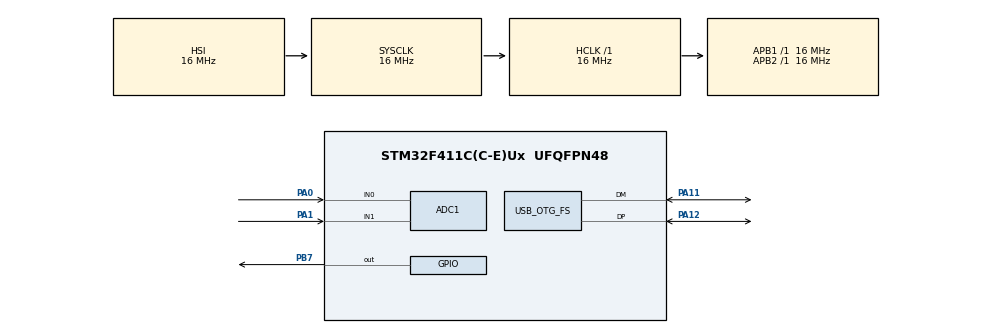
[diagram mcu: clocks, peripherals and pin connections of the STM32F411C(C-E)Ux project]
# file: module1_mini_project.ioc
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ADC1.Channel-0\#ChannelRegularConversion=ADC_CHANNEL_0
ADC1.Channel-1\#ChannelRegularConversion=ADC_CHANNEL_1
ADC1.DMAContinuousRequests=ENABLE
ADC1.EOCSelection=ADC_EOC_SEQ_CONV
ADC1.NbrOfConversion=2
ADC1.NbrOfConversionFlag=1
ADC1.Rank-0\#ChannelRegularConversion=1
ADC1.Rank-1\#ChannelRegularConversion=2
ADC1.SamplingTime-0\#ChannelRegularConversion=ADC_SAMPLETIME_480CYCLES
ADC1.SamplingTime-1\#ChannelRegularConversion=ADC_SAMPLETIME_480CYCLES
ADC1.ScanConvMode=ENABLE
ADC1.master=1
Dma.ADC1.0.Direction=DMA_PERIPH_TO_MEMORY
Dma.ADC1.0.FIFOMode=DMA_FIFOMODE_DISABLE
Dma.ADC1.0.Instance=DMA2_Stream0
Dma.ADC1.0.MemDataAlignment=DMA_MDATAALIGN_HALFWORD
Dma.ADC1.0.MemInc=DMA_MINC_ENABLE
Dma.ADC1.0.Mode=DMA_NORMAL
Dma.ADC1.0.PeriphDataAlignment=DMA_PDATAALIGN_HALFWORD
Dma.ADC1.0.PeriphInc=DMA_PINC_DISABLE
Dma.ADC1.0.Priority=DMA_PRIORITY_LOW
Dma.Request0=ADC1
Mcu.Family=STM32F4
Mcu.Name=STM32F411C(C-E)Ux
Mcu.Package=UFQFPN48
NVIC.DMA2_Stream0_IRQn=true\:0\:0\:false\:false\:true\:false\:true\:true
NVIC.OTG_FS_IRQn=true\:0\:0\:false\:false\:true\:false\:true\:true
NVIC.PriorityGroup=NVIC_PRIORITYGROUP_4
PA0-WKUP.Signal=ADCx_IN0
PA1.Signal=ADCx_IN1
PA11.Mode=Device_Only
PA11.Signal=USB_OTG_FS_DM
PA12.Mode=Device_Only
PA12.Signal=USB_OTG_FS_DP
PB7.Signal=GPIO_Output
PH0\ -\ OSC_IN.Mode=HSE-External-Oscillator
PH0\ -\ OSC_IN.Signal=RCC_OSC_IN
PH1\ -\ OSC_OUT.Mode=HSE-External-Oscillator
PH1\ -\ OSC_OUT.Signal=RCC_OSC_OUT
ProjectManager.HeapSize=0x200
ProjectManager.StackSize=0x400
ProjectManager.TargetToolchain=STM32CubeIDE
RCC.48MHZClocksFreq_Value=48000000
RCC.AHBFreq_Value=16000000
RCC.APB1Freq_Value=16000000
RCC.APB2Freq_Value=16000000
RCC.CortexFreq_Value=16000000
RCC.HSE_VALUE=25000000
RCC.HSI_VALUE=16000000
RCC.LSE_VALUE=32768
RCC.PLLM=15
RCC.PLLN=144
RCC.PLLQ=5
RCC.SYSCLKFreq_VALUE=16000000
RCC.VCOOutputFreq_Value=240000000
SH.ADCx_IN0.0=ADC1_IN0,IN0
SH.ADCx_IN1.0=ADC1_IN1,IN1
USB_DEVICE.CLASS_NAME_FS=CDC
USB_DEVICE.VirtualMode=Cdc
USB_DEVICE.VirtualModeFS=Cdc_FS
USB_OTG_FS.VirtualMode=Device_Only
VP_USB_DEVICE_VS_USB_DEVICE_CDC_FS.Mode=CDC_FS
board=custom

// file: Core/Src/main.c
/* USER CODE BEGIN Header */
/**
  ******************************************************************************
  * @file           : main.c
  * @brief          : Main program body
  ******************************************************************************
  * @attention
  *
  * Copyright (c) 2026 STMicroelectronics.
  * All rights reserved.
  *
  * This software is licensed under terms that can be found in the LICENSE file
  * in the root directory of this software component.
  * If no LICENSE file comes with this software, it is provided AS-IS.
  *
  ******************************************************************************
  */
/* USER CODE END Header */
#include "main.h"
#include "usb_device.h"

/* USER CODE BEGIN Includes */
#include "math.h"
#include "usbd_cdc_if.h"
#include <stdio.h>
#include <string.h>
/* USER CODE END Includes */

/* USER CODE BEGIN PD */

#define TRUE 1
#define FALSE 0

#define INPUT_VOL 3.3
#define ADC_RESOLUTION_BITS 12
#define LED_ACTIVATION_VOL 1.5

/* USER CODE END PD */

ADC_HandleTypeDef hadc1;
DMA_HandleTypeDef hdma_adc1;

/* USER CODE BEGIN PV */

static uint8_t data[100];
static uint16_t len;
static uint16_t ADC_RESOLUTION = pow(2, ADC_RESOLUTION_BITS) - 1;
static uint8_t s_adc1Done = FALSE;
volatile uint16_t adcData[2];

/* USER CODE END PV */

void SystemClock_Config(void);
static void MX_GPIO_Init(void);
static void MX_DMA_Init(void);
static void MX_ADC1_Init(void);

/* USER CODE BEGIN 0 */

uint8_t serial_send(const uint8_t *data, const uint16_t len) {
	if (data == NULL) {
		return FALSE;
	}

	CDC_Transmit_FS(data, len);

	return TRUE;
}

float convert_adc_raw(uint16_t rawAdc) {
	return (((float) INPUT_VOL) / ADC_RESOLUTION) * rawAdc;
}

void HAL_ADC_ConvCpltCallback(ADC_HandleTypeDef *hadc) {
	if (hadc->Instance == ADC1) {
		s_adc1Done = TRUE;
	}
}

/* USER CODE END 0 */

int main(void)
{

  /* MCU Configuration--------------------------------------------------------*/

  /* Reset of all peripherals, Initializes the Flash interface and the Systick. */
  HAL_Init();

  /* Configure the system clock */
  SystemClock_Config();

  /* Initialize all configured peripherals */
  MX_GPIO_Init();
  MX_DMA_Init();
  MX_USB_DEVICE_Init();
  MX_ADC1_Init();

  /* Infinite loop */
  while (1)
  {

    /* USER CODE BEGIN 3 */
	  HAL_Delay(500);

	  HAL_ADC_Start_DMA(&hadc1, (uint32_t *) adcData, 2);
	  HAL_Delay(10);

	  while(s_adc1Done == FALSE) {

	  }
	  s_adc1Done = FALSE;

	  uint16_t rawADC1 = adcData[0];
	  uint16_t rawADC2 = adcData[1];

	  float adcValue1 = convert_adc_raw(rawADC1);
	  float adcValue2 = convert_adc_raw(rawADC2);

	  if (adcValue2 < adcValue1) {
		  HAL_GPIO_WritePin(GPIOB, GPIO_PIN_7, GPIO_PIN_SET);
	  } else {
		  HAL_GPIO_WritePin(GPIOB, GPIO_PIN_7, GPIO_PIN_RESET);
	  }

	  sprintf((char *) data, "ADC value1: %fV, ADC value2: %fV\n", adcValue1, adcValue2);
	  len = strlen((char *) data);

	  serial_send(data, len);
  }
  /* USER CODE END 3 */
}

void SystemClock_Config(void)
{
  RCC_OscInitTypeDef RCC_OscInitStruct = {0};
  RCC_ClkInitTypeDef RCC_ClkInitStruct = {0};

  /** Configure the main internal regulator output voltage
  */
  __HAL_RCC_PWR_CLK_ENABLE();
  __HAL_PWR_VOLTAGESCALING_CONFIG(PWR_REGULATOR_VOLTAGE_SCALE1);

  /** Initializes the RCC Oscillators according to the specified parameters
  * in the RCC_OscInitTypeDef structure.
  */
  RCC_OscInitStruct.OscillatorType = RCC_OSCILLATORTYPE_HSI|RCC_OSCILLATORTYPE_HSE;
  RCC_OscInitStruct.HSEState = RCC_HSE_ON;
  RCC_OscInitStruct.HSIState = RCC_HSI_ON;
  RCC_OscInitStruct.HSICalibrationValue = RCC_HSICALIBRATION_DEFAULT;
  RCC_OscInitStruct.PLL.PLLState = RCC_PLL_ON;
  RCC_OscInitStruct.PLL.PLLSource = RCC_PLLSOURCE_HSE;
  RCC_OscInitStruct.PLL.PLLM = 15;
  RCC_OscInitStruct.PLL.PLLN = 144;
  RCC_OscInitStruct.PLL.PLLP = RCC_PLLP_DIV2;
  RCC_OscInitStruct.PLL.PLLQ = 5;
  if (HAL_RCC_OscConfig(&RCC_OscInitStruct) != HAL_OK)
  {
    Error_Handler();
  }

  /** Initializes the CPU, AHB and APB buses clocks
  */
  RCC_ClkInitStruct.ClockType = RCC_CLOCKTYPE_HCLK|RCC_CLOCKTYPE_SYSCLK
                              |RCC_CLOCKTYPE_PCLK1|RCC_CLOCKTYPE_PCLK2;
  RCC_ClkInitStruct.SYSCLKSource = RCC_SYSCLKSOURCE_HSI;
  RCC_ClkInitStruct.AHBCLKDivider = RCC_SYSCLK_DIV1;
  RCC_ClkInitStruct.APB1CLKDivider = RCC_HCLK_DIV1;
  RCC_ClkInitStruct.APB2CLKDivider = RCC_HCLK_DIV1;

  if (HAL_RCC_ClockConfig(&RCC_ClkInitStruct, FLASH_LATENCY_0) != HAL_OK)
  {
    Error_Handler();
  }
}

static void MX_ADC1_Init(void)
{

  ADC_ChannelConfTypeDef sConfig = {0};

  /** Configure the global features of the ADC (Clock, Resolution, Data Alignment and number of conversion)
  */
  hadc1.Instance = ADC1;
  hadc1.Init.ClockPrescaler = ADC_CLOCK_SYNC_PCLK_DIV2;
  hadc1.Init.Resolution = ADC_RESOLUTION_12B;
  hadc1.Init.ScanConvMode = ENABLE;
  hadc1.Init.ContinuousConvMode = DISABLE;
  hadc1.Init.DiscontinuousConvMode = DISABLE;
  hadc1.Init.ExternalTrigConvEdge = ADC_EXTERNALTRIGCONVEDGE_NONE;
  hadc1.Init.ExternalTrigConv = ADC_SOFTWARE_START;
  hadc1.Init.DataAlign = ADC_DATAALIGN_RIGHT;
  hadc1.Init.NbrOfConversion = 2;
  hadc1.Init.DMAContinuousRequests = ENABLE;
  hadc1.Init.EOCSelection = ADC_EOC_SEQ_CONV;
  if (HAL_ADC_Init(&hadc1) != HAL_OK)
  {
    Error_Handler();
  }

  /** Configure for the selected ADC regular channel its corresponding rank in the sequencer and its sample time.
  */
  sConfig.Channel = ADC_CHANNEL_0;
  sConfig.Rank = 1;
  sConfig.SamplingTime = ADC_SAMPLETIME_480CYCLES;
  if (HAL_ADC_ConfigChannel(&hadc1, &sConfig) != HAL_OK)
  {
    Error_Handler();
  }

  /** Configure for the selected ADC regular channel its corresponding rank in the sequencer and its sample time.
  */
  sConfig.Channel = ADC_CHANNEL_1;
  sConfig.Rank = 2;
  if (HAL_ADC_ConfigChannel(&hadc1, &sConfig) != HAL_OK)
  {
    Error_Handler();
  }

}

static void MX_DMA_Init(void)
{

  /* DMA controller clock enable */
  __HAL_RCC_DMA2_CLK_ENABLE();

  /* DMA interrupt init */
  /* DMA2_Stream0_IRQn interrupt configuration */
  HAL_NVIC_SetPriority(DMA2_Stream0_IRQn, 0, 0);
  HAL_NVIC_EnableIRQ(DMA2_Stream0_IRQn);

}

static void MX_GPIO_Init(void)
{
  GPIO_InitTypeDef GPIO_InitStruct = {0};

  /* GPIO Ports Clock Enable */
  __HAL_RCC_GPIOH_CLK_ENABLE();
  __HAL_RCC_GPIOA_CLK_ENABLE();
  __HAL_RCC_GPIOB_CLK_ENABLE();

  /*Configure GPIO pin Output Level */
  HAL_GPIO_WritePin(GPIOB, GPIO_PIN_7, GPIO_PIN_RESET);

  /*Configure GPIO pin : PB7 */
  GPIO_InitStruct.Pin = GPIO_PIN_7;
  GPIO_InitStruct.Mode = GPIO_MODE_OUTPUT_PP;
  GPIO_InitStruct.Pull = GPIO_NOPULL;
  GPIO_InitStruct.Speed = GPIO_SPEED_FREQ_LOW;
  HAL_GPIO_Init(GPIOB, &GPIO_InitStruct);

}

void Error_Handler(void)
{
  __disable_irq();
  while (1)
  {
  }
}
